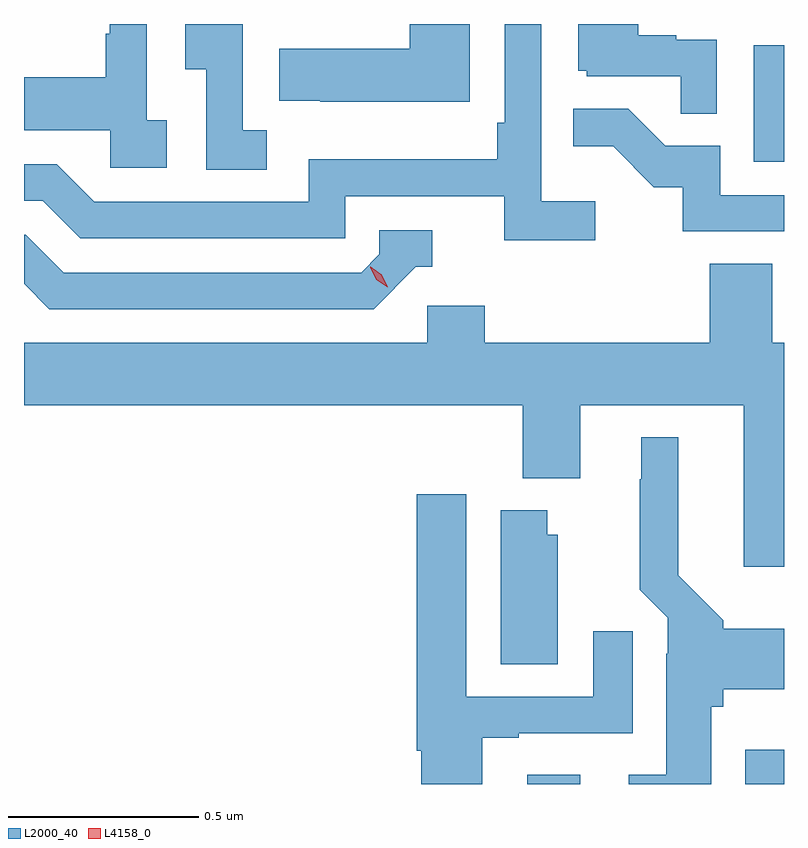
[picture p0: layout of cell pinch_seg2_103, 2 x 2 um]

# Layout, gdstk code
import gdstk
lib = gdstk.Library(unit=1e-6, precision=1e-09)
def R(c, l, rs):  # rectangles x0, y0, x1, y1
    for r in rs: c.add(gdstk.rectangle(r[:2], r[2:], *l))
def P(c, l, *ps):  # polygons
    for p in ps: c.add(gdstk.Polygon(p, *l))
L2000_40 = (2000, 40)
L4158_0 = (4158, 0)

pinch_seg2_103 = lib.new_cell('pinch_seg2_103')
R(pinch_seg2_103, L2000_40, [(1050.767,633.319,1050.907,633.343), (1051.341,633.319,1051.443,633.409), (1051.364,634.956,1051.443,635.263)])
P(pinch_seg2_103, L2000_40, [(1051.266,635.277),(1051.16,635.277),(1051.16,635.29),(1051.06,635.29),(1051.06,635.319),(1050.902,635.319),(1050.902,635.196),(1050.924,635.196),(1050.924,635.181),(1051.171,635.181),(1051.171,635.083),(1051.266,635.083)],
  [(1049.818,635.066),(1049.766,635.066),(1049.766,635.319),(1049.668,635.319),(1049.668,635.294),(1049.658,635.294),(1049.658,635.179),(1049.443,635.179),(1049.443,635.039),(1049.67,635.039),(1049.67,634.941),(1049.818,634.941)],
  [(1050.082,635.039),(1050.018,635.039),(1050.018,635.319),(1049.867,635.319),(1049.867,635.2),(1049.922,635.2),(1049.922,634.936),(1050.082,634.936)],
  [(1050.616,635.319),(1050.458,635.319),(1050.458,635.254),(1050.115,635.254),(1050.115,635.117),(1050.223,635.117),(1050.223,635.114),(1050.616,635.114)],
  [(1050.946,634.852),(1050.804,634.852),(1050.804,635.319),(1050.708,635.319),(1050.708,635.059),(1050.688,635.059),(1050.688,634.963),(1050.192,634.963),(1050.192,634.851),(1049.628,634.851),(1049.529,634.95),(1049.443,634.95),(1049.443,634.854),(1049.492,634.854),(1049.591,634.755),(1050.288,634.755),(1050.288,634.866),(1050.707,634.866),(1050.707,634.75),(1050.946,634.75)],
  [(1051.443,634.869),(1051.275,634.869),(1051.275,634.998),(1051.131,634.998),(1051.033,635.096),(1050.889,635.096),(1050.889,634.997),(1050.993,634.997),(1051.1,634.89),(1051.177,634.89),(1051.177,634.773),(1051.443,634.773)],
  [(1050.474,634.68),(1050.517,634.68),(1050.517,634.776),(1050.378,634.776),(1050.378,634.713),(1050.33,634.665),(1049.547,634.665),(1049.448,634.764),(1049.443,634.764),(1049.443,634.636),(1049.51,634.569),(1050.363,634.569)],
  [(1051.247,634.48),(1050.656,634.48),(1050.656,634.578),(1050.504,634.578),(1050.504,634.48),(1049.443,634.48),(1049.443,634.316),(1050.755,634.316),(1050.755,634.124),(1050.907,634.124),(1050.907,634.316),(1051.337,634.316),(1051.337,633.891),(1051.443,633.891),(1051.443,634.48),(1051.412,634.48),(1051.412,634.688),(1051.247,634.688)],
  [(1051.252,633.522),(1051.283,633.522),(1051.283,633.569),(1051.443,633.569),(1051.443,633.727),(1051.283,633.727),(1051.283,633.75),(1051.165,633.868),(1051.165,634.231),(1051.067,634.231),(1051.067,634.121),(1051.063,634.121),(1051.063,633.83),(1051.137,633.756),(1051.137,633.662),(1051.133,633.662),(1051.133,633.343),(1051.035,633.343),(1051.035,633.319),(1051.252,633.319)],
  [(1050.649,633.441),(1050.745,633.441),(1050.745,633.453),(1051.045,633.453),(1051.045,633.721),(1050.941,633.721),(1050.941,633.549),(1050.607,633.549),(1050.607,634.081),(1050.476,634.081),(1050.476,633.406),(1050.488,633.406),(1050.488,633.319),(1050.649,633.319)],
  [(1050.847,633.975),(1050.82,633.975),(1050.82,634.039),(1050.698,634.039),(1050.698,633.634),(1050.847,633.634)])
P(pinch_seg2_103, L4158_0, [(1050.4,634.626),(1050.37,634.646),(1050.354,634.679),(1050.354,634.68),(1050.355,634.68),(1050.385,634.659),(1050.4,634.626),(1050.4,634.626)])

lib.write_gds('pinch_seg2_103.gds')
